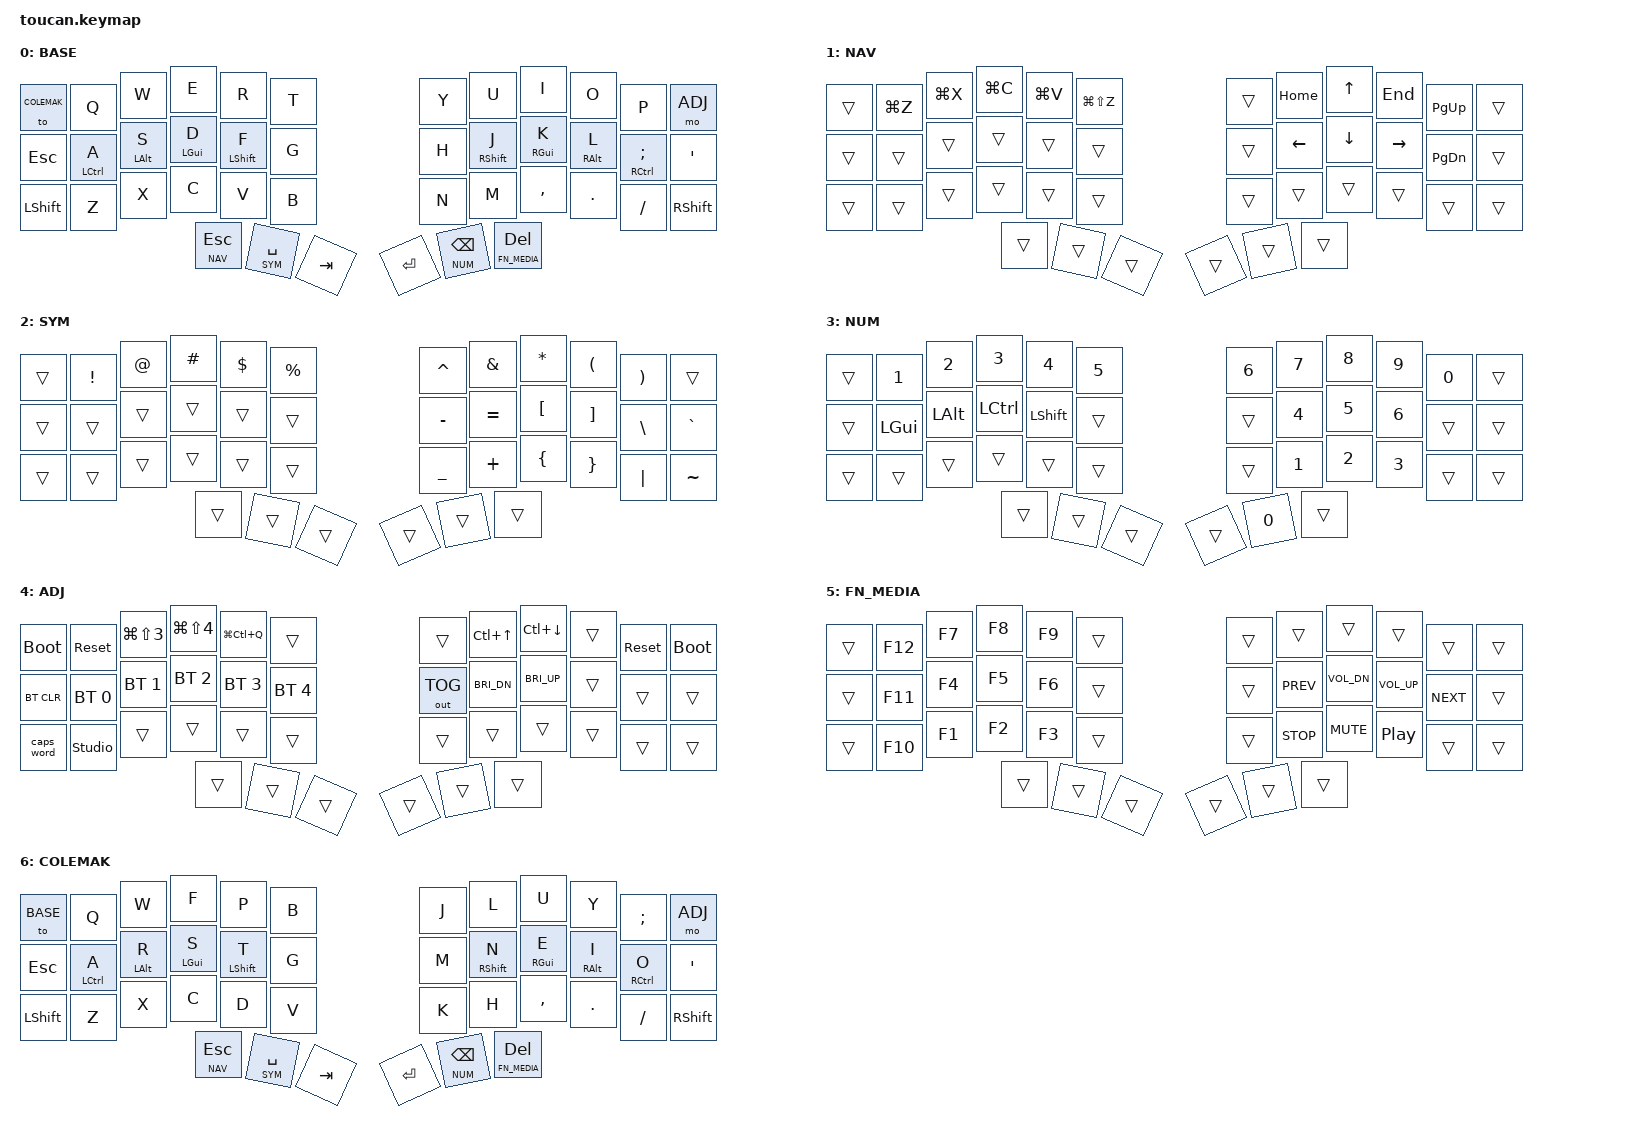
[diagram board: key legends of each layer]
#include <behaviors.dtsi>
#include <dt-bindings/zmk/keys.h>
#include <dt-bindings/zmk/bt.h>
#include <dt-bindings/zmk/outputs.h>

#define BASE 0
#define NAV  1
#define SYM  2
#define NUM  3
#define ADJ  4
#define FN_MEDIA 5
#define COLEMAK 6

/ {
    behaviors {
        hml: homerow_mods_left {
            compatible = "zmk,behavior-hold-tap";
            #binding-cells = <2>;
            flavor = "balanced";
            tapping-term-ms = <280>;
            quick-tap-ms = <175>;
            require-prior-idle-ms = <150>;
            bindings = <&kp>, <&kp>;
            hold-trigger-key-positions = <6 7 8 9 10 11 18 19 20 21 22 23 30 31 32 33 34 35 39 40 41>;
            hold-trigger-on-release;
        };
        hmr: homerow_mods_right {
            compatible = "zmk,behavior-hold-tap";
            #binding-cells = <2>;
            flavor = "balanced";
            tapping-term-ms = <280>;
            quick-tap-ms = <175>;
            require-prior-idle-ms = <150>;
            bindings = <&kp>, <&kp>;
            hold-trigger-key-positions = <0 1 2 3 4 5 12 13 14 15 16 17 24 25 26 27 28 29 36 37 38>;
            hold-trigger-on-release;
        };
        lts: layer_tap_space {
            compatible = "zmk,behavior-hold-tap";
            #binding-cells = <2>;
            flavor = "tap-preferred";
            tapping-term-ms = <200>;
            quick-tap-ms = <200>;
            require-prior-idle-ms = <125>;
            bindings = <&mo>, <&kp>;
        };
        ltb: layer_tap_bspc {
            compatible = "zmk,behavior-hold-tap";
            #binding-cells = <2>;
            flavor = "tap-preferred";
            tapping-term-ms = <200>;
            quick-tap-ms = <200>;
            require-prior-idle-ms = <125>;
            bindings = <&mo>, <&kp>;
        };
    };
    combos {
        compatible = "zmk,combos";
        combo_caps_word {
            timeout-ms = <60>;
            key-positions = <16 19>;  // F + J (home row index fingers)
            bindings = <&caps_word>;
        };
        // Programming brackets (vertical combos)
        combo_lparen {
            timeout-ms = <60>;
            key-positions = <3 15>;  // E + D
            bindings = <&kp LPAR>;
        };
        combo_rparen {
            timeout-ms = <60>;
            key-positions = <8 20>;  // I + K
            bindings = <&kp RPAR>;
        };
        combo_lbkt {
            timeout-ms = <60>;
            key-positions = <2 14>;  // W + S
            bindings = <&kp LBKT>;
        };
        combo_rbkt {
            timeout-ms = <60>;
            key-positions = <9 21>;  // O + L
            bindings = <&kp RBKT>;
        };
        combo_lbrc {
            timeout-ms = <60>;
            key-positions = <4 16>;  // R + F
            bindings = <&kp LBRC>;
        };
        combo_rbrc {
            timeout-ms = <60>;
            key-positions = <7 19>;  // U + J
            bindings = <&kp RBRC>;
        };
        // Clipboard combos
        combo_cut {
            timeout-ms = <60>;
            key-positions = <25 26>;  // Z + X
            bindings = <&kp LG(X)>;
        };
        combo_copy {
            timeout-ms = <60>;
            key-positions = <26 27>;  // X + C
            bindings = <&kp LG(C)>;
        };
        combo_paste {
            timeout-ms = <60>;
            key-positions = <27 28>;  // C + V
            bindings = <&kp LG(V)>;
        };
    };

    keymap {
        compatible = "zmk,keymap";

        base {
            display-name = "BASE";
            bindings = <
                &to COLEMAK &kp Q     &kp W       &kp E        &kp R       &kp T         &kp Y     &kp U        &kp I        &kp O        &kp P          &mo ADJ
                &kp ESC &hml LCTRL A &hml LALT S &hml LGUI D &hml LSHFT F &kp G        &kp H     &hmr RSHFT J &hmr RGUI K &hmr RALT L &hmr RCTRL SEMI &kp SQT
                &kp LSHFT &kp Z       &kp X       &kp C        &kp V       &kp B         &kp N     &kp M        &kp COMMA    &kp DOT      &kp FSLH       &kp RSHFT
                                                  &lt NAV ESC &lts SYM SPACE &kp TAB     &kp RET &ltb NUM BSPC &lt FN_MEDIA DEL
            >;
        };

        nav {
            display-name = "NAV";
            bindings = <
                &trans      &kp LG(Z)       &kp LG(X)    &kp LG(C)    &kp LG(V)    &kp LG(LS(Z))  &trans   &kp HOME &kp UP   &kp END   &kp PG_UP &trans
                &trans      &trans          &trans       &trans       &trans       &trans         &trans   &kp LEFT &kp DOWN &kp RIGHT &kp PG_DN &trans
                &trans      &trans          &trans       &trans       &trans       &trans         &trans   &trans   &trans   &trans    &trans    &trans
                                                &trans       &trans       &trans         &trans   &trans   &trans
            >;
        };

        sym {
            display-name = "SYM";
            bindings = <
                &trans    &kp EXCL &kp AT &kp HASH &kp DLLR &kp PRCNT   &kp CARET &kp AMPS  &kp ASTRK &kp LPAR &kp RPAR &trans
                &trans    &trans   &trans &trans   &trans   &trans      &kp MINUS &kp EQUAL &kp LBKT        &kp RBKT &kp BSLH &kp GRAVE
                &trans    &trans   &trans &trans   &trans   &trans      &kp UNDER &kp PLUS  &kp LBRC        &kp RBRC &kp PIPE &kp TILDE
                                          &trans   &trans   &trans      &trans    &trans    &trans
            >;
        };

        num {
            display-name = "NUM";
            bindings = <
                &trans    &kp N1   &kp N2   &kp N3    &kp N4    &kp N5      &kp N6   &kp N7   &kp N8   &kp N9   &kp N0   &trans
                &trans    &kp LGUI &kp LALT &kp LCTRL &kp LSHFT &trans      &trans   &kp N4   &kp N5   &kp N6   &trans   &trans
                &trans    &trans   &trans   &trans    &trans    &trans      &trans   &kp N1   &kp N2   &kp N3   &trans   &trans
                                            &trans    &trans    &trans      &trans   &kp N0   &trans
            >;
        };

        adj {
            display-name = "ADJ";
            bindings = <
                &bootloader &sys_reset   &kp LG(LS(N3)) &kp LG(LS(N4)) &kp LG(LC(Q)) &trans         &trans       &kp LC(UP)   &kp LC(DOWN) &trans       &sys_reset   &bootloader
                &bt BT_CLR  &bt BT_SEL 0 &bt BT_SEL 1   &bt BT_SEL 2   &bt BT_SEL 3  &bt BT_SEL 4   &out OUT_TOG &kp C_BRI_DN &kp C_BRI_UP &trans       &trans       &trans
                &caps_word  &studio_unlock &trans      &trans         &trans        &trans         &trans       &trans       &trans       &trans       &trans       &trans
                                                       &trans         &trans        &trans         &trans       &trans       &trans
            >;
        };

        fn_media {
            display-name = "FN_MEDIA";
            bindings = <
                &trans    &kp F12  &kp F7   &kp F8   &kp F9   &trans      &trans   &trans     &trans       &trans       &trans     &trans
                &trans    &kp F11  &kp F4   &kp F5   &kp F6   &trans      &trans   &kp C_PREV &kp C_VOL_DN &kp C_VOL_UP &kp C_NEXT &trans
                &trans    &kp F10  &kp F1   &kp F2   &kp F3   &trans      &trans   &kp C_STOP &kp C_MUTE   &kp C_PP     &trans     &trans
                                            &trans   &trans   &trans      &trans   &trans     &trans
            >;
        };

        colemak {
            display-name = "COLEMAK";
            bindings = <
                &to BASE  &kp Q       &kp W       &kp F        &kp P       &kp B         &kp J     &kp L        &kp U        &kp Y        &kp SEMI       &mo ADJ
                &kp ESC &hml LCTRL A &hml LALT R &hml LGUI S &hml LSHFT T &kp G        &kp M     &hmr RSHFT N &hmr RGUI E &hmr RALT I &hmr RCTRL O    &kp SQT
                &kp LSHFT &kp Z       &kp X       &kp C        &kp D       &kp V         &kp K     &kp H        &kp COMMA    &kp DOT      &kp FSLH       &kp RSHFT
                                                  &lt NAV ESC &lts SYM SPACE &kp TAB     &kp RET &ltb NUM BSPC &lt FN_MEDIA DEL
            >;
        };
    };
};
